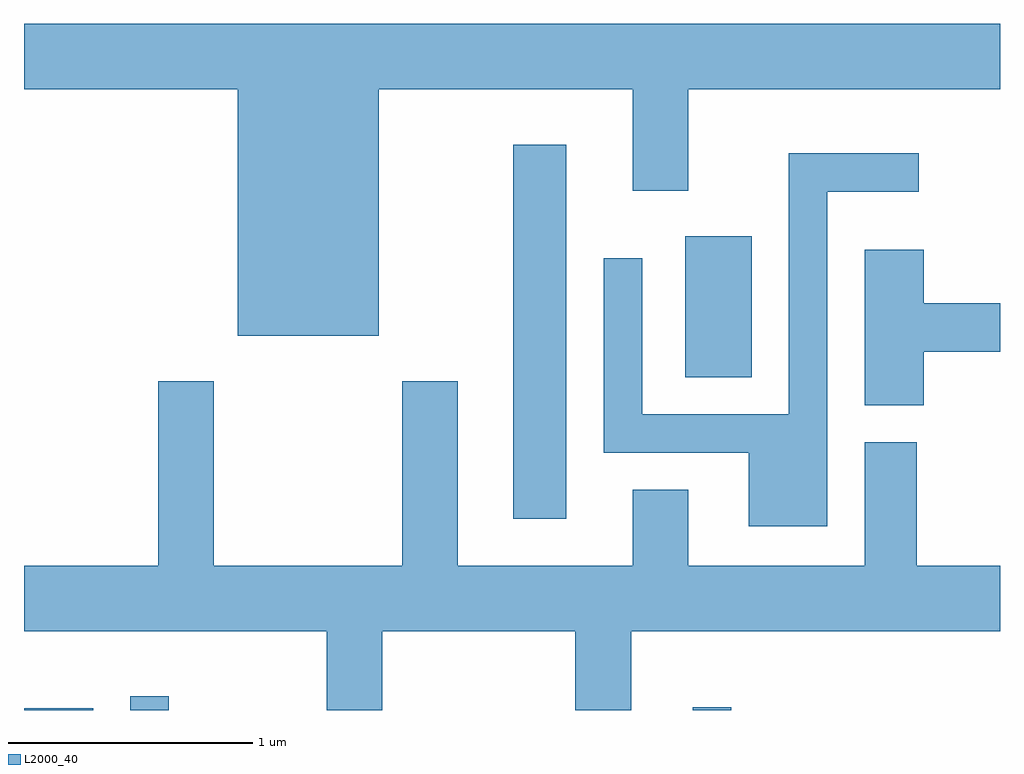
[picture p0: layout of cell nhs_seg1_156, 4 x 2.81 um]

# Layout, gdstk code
import gdstk
lib = gdstk.Library(unit=1e-6, precision=1e-09)
def R(c, l, rs):  # rectangles x0, y0, x1, y1
    for r in rs: c.add(gdstk.rectangle(r[:2], r[2:], *l))
def P(c, l, *ps):  # polygons
    for p in ps: c.add(gdstk.Polygon(p, *l))
L2000_40 = (2000, 40)

nhs_seg1_156 = lib.new_cell('nhs_seg1_156')
R(nhs_seg1_156, L2000_40, [(189.611,883.712,189.894,883.719), (190.046,883.712,190.204,883.768), (192.351,883.712,192.509,883.723), (191.616,884.496,191.834,886.029), (192.321,885.076,192.594,885.654)])
P(nhs_seg1_156, L2000_40, [(191.064,886.256),(192.106,886.256),(192.106,885.841),(192.334,885.841),(192.334,886.256),(193.611,886.256),(193.611,886.524),(189.611,886.524),(189.611,886.256),(190.486,886.256),(190.486,885.246),(191.064,885.246)],
  [(192.904,885.836),(193.278,885.836),(193.278,885.994),(192.746,885.994),(192.746,884.924),(192.144,884.924),(192.144,885.563),(191.986,885.563),(191.986,884.766),(192.581,884.766),(192.581,884.466),(192.904,884.466)],
  [(193.299,885.181),(193.611,885.181),(193.611,885.379),(193.299,885.379),(193.299,885.599),(193.056,885.599),(193.056,884.961),(193.299,884.961)],
  [(191.079,884.036),(191.871,884.036),(191.871,883.712),(192.099,883.712),(192.099,884.036),(193.611,884.036),(193.611,884.304),(193.269,884.304),(193.269,884.809),(193.056,884.809),(193.056,884.304),(192.334,884.304),(192.334,884.614),(192.106,884.614),(192.106,884.304),(191.389,884.304),(191.389,885.059),(191.161,885.059),(191.161,884.304),(190.389,884.304),(190.389,885.059),(190.161,885.059),(190.161,884.304),(189.611,884.304),(189.611,884.036),(190.851,884.036),(190.851,883.712),(191.079,883.712)])

lib.write_gds('nhs_seg1_156.gds')
